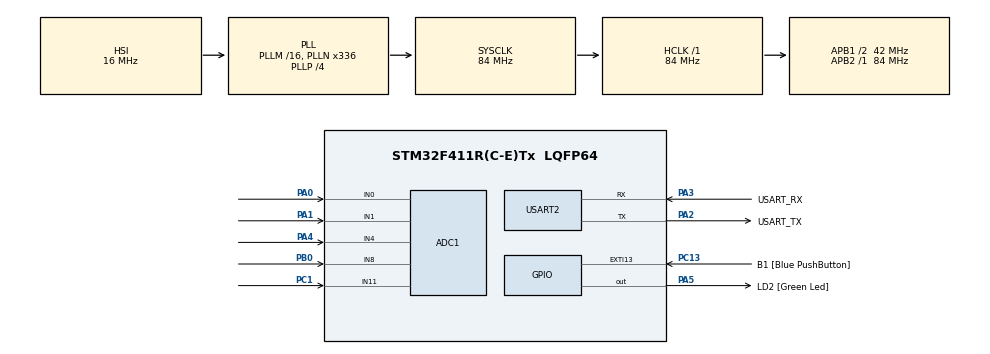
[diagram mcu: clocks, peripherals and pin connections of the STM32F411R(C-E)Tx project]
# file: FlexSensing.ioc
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ADC1.Channel-1\#ChannelRegularConversion=ADC_CHANNEL_0
ADC1.Channel-2\#ChannelRegularConversion=ADC_CHANNEL_1
ADC1.Channel-6\#ChannelRegularConversion=ADC_CHANNEL_4
ADC1.Channel-7\#ChannelRegularConversion=ADC_CHANNEL_8
ADC1.Channel-8\#ChannelRegularConversion=ADC_CHANNEL_11
ADC1.ClockPrescaler=ADC_CLOCK_SYNC_PCLK_DIV8
ADC1.ContinuousConvMode=ENABLE
ADC1.DMAContinuousRequests=ENABLE
ADC1.NbrOfConversion=5
ADC1.NbrOfConversionFlag=1
ADC1.Rank-1\#ChannelRegularConversion=1
ADC1.Rank-2\#ChannelRegularConversion=2
ADC1.Rank-6\#ChannelRegularConversion=3
ADC1.Rank-7\#ChannelRegularConversion=4
ADC1.Rank-8\#ChannelRegularConversion=5
ADC1.SamplingTime-1\#ChannelRegularConversion=ADC_SAMPLETIME_144CYCLES
ADC1.SamplingTime-2\#ChannelRegularConversion=ADC_SAMPLETIME_144CYCLES
ADC1.SamplingTime-6\#ChannelRegularConversion=ADC_SAMPLETIME_144CYCLES
ADC1.SamplingTime-7\#ChannelRegularConversion=ADC_SAMPLETIME_144CYCLES
ADC1.SamplingTime-8\#ChannelRegularConversion=ADC_SAMPLETIME_144CYCLES
ADC1.master=1
Dma.ADC1.0.Direction=DMA_PERIPH_TO_MEMORY
Dma.ADC1.0.FIFOMode=DMA_FIFOMODE_DISABLE
Dma.ADC1.0.Instance=DMA2_Stream0
Dma.ADC1.0.MemDataAlignment=DMA_MDATAALIGN_WORD
Dma.ADC1.0.MemInc=DMA_MINC_ENABLE
Dma.ADC1.0.Mode=DMA_CIRCULAR
Dma.ADC1.0.PeriphDataAlignment=DMA_PDATAALIGN_WORD
Dma.ADC1.0.PeriphInc=DMA_PINC_DISABLE
Dma.ADC1.0.Priority=DMA_PRIORITY_LOW
Dma.Request0=ADC1
Mcu.Family=STM32F4
Mcu.Name=STM32F411R(C-E)Tx
Mcu.Package=LQFP64
NVIC.DMA2_Stream0_IRQn=true\:0\:0\:false\:false\:true\:false\:true\:true
NVIC.PriorityGroup=NVIC_PRIORITYGROUP_0
PA0-WKUP.Signal=ADCx_IN0
PA1.Signal=ADCx_IN1
PA13.GPIO_Label=TMS
PA13.Mode=Serial_Wire
PA13.Signal=SYS_JTMS-SWDIO
PA14.GPIO_Label=TCK
PA14.Mode=Serial_Wire
PA14.Signal=SYS_JTCK-SWCLK
PA2.GPIO_Label=USART_TX
PA2.Mode=Asynchronous
PA2.Signal=USART2_TX
PA3.GPIO_Label=USART_RX
PA3.Mode=Asynchronous
PA3.Signal=USART2_RX
PA4.Signal=ADCx_IN4
PA5.GPIO_Label=LD2 [Green Led]
PA5.Signal=GPIO_Output
PB0.Signal=ADCx_IN8
PB3.GPIO_Label=SWO
PB3.Signal=SYS_JTDO-SWO
PC1.Signal=ADCx_IN11
PC13-ANTI_TAMP.GPIO_Label=B1 [Blue PushButton]
PC13-ANTI_TAMP.GPIO_ModeDefaultEXTI=GPIO_MODE_IT_FALLING
PC13-ANTI_TAMP.Signal=GPXTI13
PC14-OSC32_IN.Mode=LSE-External-Oscillator
PC14-OSC32_IN.Signal=RCC_OSC32_IN
PC15-OSC32_OUT.Mode=LSE-External-Oscillator
PC15-OSC32_OUT.Signal=RCC_OSC32_OUT
PH0\ -\ OSC_IN.Mode=HSE-External-Clock-Source
PH0\ -\ OSC_IN.Signal=RCC_OSC_IN
PH1\ -\ OSC_OUT.Mode=HSE-External-Clock-Source
PH1\ -\ OSC_OUT.Signal=RCC_OSC_OUT
ProjectManager.HeapSize=0x200
ProjectManager.StackSize=0x400
ProjectManager.TargetToolchain=STM32CubeIDE
RCC.48MHZClocksFreq_Value=84000000
RCC.AHBFreq_Value=84000000
RCC.APB1CLKDivider=RCC_HCLK_DIV2
RCC.APB1Freq_Value=42000000
RCC.APB1TimFreq_Value=84000000
RCC.APB2Freq_Value=84000000
RCC.APB2TimFreq_Value=84000000
RCC.CortexFreq_Value=84000000
RCC.FLatency-AdvancedSettings=FLASH_LATENCY_2
RCC.HCLKFreq_Value=84000000
RCC.HSE_VALUE=8000000
RCC.HSI_VALUE=16000000
RCC.PLLN=336
RCC.PLLP=RCC_PLLP_DIV4
RCC.SYSCLKFreq_VALUE=84000000
RCC.SYSCLKSource=RCC_SYSCLKSOURCE_PLLCLK
RCC.VCOOutputFreq_Value=336000000
SH.ADCx_IN0.0=ADC1_IN0,IN0
SH.ADCx_IN1.0=ADC1_IN1,IN1
SH.ADCx_IN11.0=ADC1_IN11,IN11
SH.ADCx_IN4.0=ADC1_IN4,IN4
SH.ADCx_IN8.0=ADC1_IN8,IN8
USART2.VirtualMode=VM_ASYNC
board=NUCLEO-F411RE

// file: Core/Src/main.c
/* USER CODE BEGIN Header */
/**
  ******************************************************************************
  * @file           : main.c
  * @brief          : Main program body
  ******************************************************************************
  * @attention
  *
  * Copyright (c) 2024 STMicroelectronics.
  * All rights reserved.
  *
  * This software is licensed under terms that can be found in the LICENSE file
  * in the root directory of this software component.
  * If no LICENSE file comes with this software, it is provided AS-IS.
  *
  ******************************************************************************
  */
/* USER CODE END Header */
#include "main.h"

/* USER CODE BEGIN Includes */
// Used for outputting text to PuTTy
#include <string.h>
#include <stdio.h>
/* USER CODE END Includes */

/* USER CODE BEGIN PD */
#define ADC_MAX 4095 //Maximum ADC reading
#define NUM_ADC_CHANNELS 5 //How many threads the ADC will be reading from
/* USER CODE END PD */

ADC_HandleTypeDef hadc1;
DMA_HandleTypeDef hdma_adc1;

UART_HandleTypeDef huart2;

/* USER CODE BEGIN PV */
uint32_t ADCReading[NUM_ADC_CHANNELS] = {0}; //Hold the ADC readings from each of the channels
int ADCChannel = 0;
/* USER CODE END PV */

void SystemClock_Config(void);
static void MX_GPIO_Init(void);
static void MX_DMA_Init(void);
static void MX_USART2_UART_Init(void);
static void MX_ADC1_Init(void);

int main(void)
{

  /* MCU Configuration--------------------------------------------------------*/

  /* Reset of all peripherals, Initializes the Flash interface and the Systick. */
  HAL_Init();

  /* Configure the system clock */
  SystemClock_Config();

  /* Initialize all configured peripherals */
  MX_GPIO_Init();
  MX_DMA_Init();
  MX_USART2_UART_Init();
  MX_ADC1_Init();
  /* USER CODE BEGIN 2 */
  HAL_ADC_Start_DMA(&hadc1, ADCReading, NUM_ADC_CHANNELS);
  /* USER CODE END 2 */

  /* Infinite loop */
  /* USER CODE BEGIN WHILE */
  while (1)
  {
	  //This comment is for testing the Github upload
	  //Since ADC readings are 12 bits, we bitwise and (&) with oxFFF to zero out the extra
	  printf("First ADC reading = %d\r\n", (int)(0xFFFF & ADCReading[0]));
	  printf("Second = %d\r\n", (int)(0xFFFF & ADCReading[1]));
	  printf("Third = %d\r\n", (int)(0xFFFF & ADCReading[2]));
	  printf("Fourth = %d\r\n", (int)(0xFFFF & ADCReading[3]));
	  printf("Fifth = %d\r\n", (int)(0xFFFF & ADCReading[4]));
	  HAL_GPIO_TogglePin(GPIOA,GPIO_PIN_5); //Toggle the built in LED on the board to confirm it's running
	  HAL_Delay(100);
    /* USER CODE END WHILE */

  }
}

void SystemClock_Config(void)
{
  RCC_OscInitTypeDef RCC_OscInitStruct = {0};
  RCC_ClkInitTypeDef RCC_ClkInitStruct = {0};

  /** Configure the main internal regulator output voltage
  */
  __HAL_RCC_PWR_CLK_ENABLE();
  __HAL_PWR_VOLTAGESCALING_CONFIG(PWR_REGULATOR_VOLTAGE_SCALE1);

  /** Initializes the RCC Oscillators according to the specified parameters
  * in the RCC_OscInitTypeDef structure.
  */
  RCC_OscInitStruct.OscillatorType = RCC_OSCILLATORTYPE_HSI;
  RCC_OscInitStruct.HSIState = RCC_HSI_ON;
  RCC_OscInitStruct.HSICalibrationValue = RCC_HSICALIBRATION_DEFAULT;
  RCC_OscInitStruct.PLL.PLLState = RCC_PLL_ON;
  RCC_OscInitStruct.PLL.PLLSource = RCC_PLLSOURCE_HSI;
  RCC_OscInitStruct.PLL.PLLM = 16;
  RCC_OscInitStruct.PLL.PLLN = 336;
  RCC_OscInitStruct.PLL.PLLP = RCC_PLLP_DIV4;
  RCC_OscInitStruct.PLL.PLLQ = 4;
  if (HAL_RCC_OscConfig(&RCC_OscInitStruct) != HAL_OK)
  {
    Error_Handler();
  }

  /** Initializes the CPU, AHB and APB buses clocks
  */
  RCC_ClkInitStruct.ClockType = RCC_CLOCKTYPE_HCLK|RCC_CLOCKTYPE_SYSCLK
                              |RCC_CLOCKTYPE_PCLK1|RCC_CLOCKTYPE_PCLK2;
  RCC_ClkInitStruct.SYSCLKSource = RCC_SYSCLKSOURCE_PLLCLK;
  RCC_ClkInitStruct.AHBCLKDivider = RCC_SYSCLK_DIV1;
  RCC_ClkInitStruct.APB1CLKDivider = RCC_HCLK_DIV2;
  RCC_ClkInitStruct.APB2CLKDivider = RCC_HCLK_DIV1;

  if (HAL_RCC_ClockConfig(&RCC_ClkInitStruct, FLASH_LATENCY_2) != HAL_OK)
  {
    Error_Handler();
  }
}

static void MX_ADC1_Init(void)
{

  ADC_ChannelConfTypeDef sConfig = {0};

  /** Configure the global features of the ADC (Clock, Resolution, Data Alignment and number of conversion)
  */
  hadc1.Instance = ADC1;
  hadc1.Init.ClockPrescaler = ADC_CLOCK_SYNC_PCLK_DIV8;
  hadc1.Init.Resolution = ADC_RESOLUTION_12B;
  hadc1.Init.ScanConvMode = ENABLE;
  hadc1.Init.ContinuousConvMode = ENABLE;
  hadc1.Init.DiscontinuousConvMode = DISABLE;
  hadc1.Init.ExternalTrigConvEdge = ADC_EXTERNALTRIGCONVEDGE_NONE;
  hadc1.Init.ExternalTrigConv = ADC_SOFTWARE_START;
  hadc1.Init.DataAlign = ADC_DATAALIGN_RIGHT;
  hadc1.Init.NbrOfConversion = 5;
  hadc1.Init.DMAContinuousRequests = ENABLE;
  hadc1.Init.EOCSelection = ADC_EOC_SINGLE_CONV;
  if (HAL_ADC_Init(&hadc1) != HAL_OK)
  {
    Error_Handler();
  }

  /** Configure for the selected ADC regular channel its corresponding rank in the sequencer and its sample time.
  */
  sConfig.Channel = ADC_CHANNEL_0;
  sConfig.Rank = 1;
  sConfig.SamplingTime = ADC_SAMPLETIME_144CYCLES;
  if (HAL_ADC_ConfigChannel(&hadc1, &sConfig) != HAL_OK)
  {
    Error_Handler();
  }

  /** Configure for the selected ADC regular channel its corresponding rank in the sequencer and its sample time.
  */
  sConfig.Channel = ADC_CHANNEL_1;
  sConfig.Rank = 2;
  if (HAL_ADC_ConfigChannel(&hadc1, &sConfig) != HAL_OK)
  {
    Error_Handler();
  }

  /** Configure for the selected ADC regular channel its corresponding rank in the sequencer and its sample time.
  */
  sConfig.Channel = ADC_CHANNEL_4;
  sConfig.Rank = 3;
  if (HAL_ADC_ConfigChannel(&hadc1, &sConfig) != HAL_OK)
  {
    Error_Handler();
  }

  /** Configure for the selected ADC regular channel its corresponding rank in the sequencer and its sample time.
  */
  sConfig.Channel = ADC_CHANNEL_8;
  sConfig.Rank = 4;
  if (HAL_ADC_ConfigChannel(&hadc1, &sConfig) != HAL_OK)
  {
    Error_Handler();
  }

  /** Configure for the selected ADC regular channel its corresponding rank in the sequencer and its sample time.
  */
  sConfig.Channel = ADC_CHANNEL_11;
  sConfig.Rank = 5;
  if (HAL_ADC_ConfigChannel(&hadc1, &sConfig) != HAL_OK)
  {
    Error_Handler();
  }

}

static void MX_USART2_UART_Init(void)
{

  huart2.Instance = USART2;
  huart2.Init.BaudRate = 115200;
  huart2.Init.WordLength = UART_WORDLENGTH_8B;
  huart2.Init.StopBits = UART_STOPBITS_1;
  huart2.Init.Parity = UART_PARITY_NONE;
  huart2.Init.Mode = UART_MODE_TX_RX;
  huart2.Init.HwFlowCtl = UART_HWCONTROL_NONE;
  huart2.Init.OverSampling = UART_OVERSAMPLING_16;
  if (HAL_UART_Init(&huart2) != HAL_OK)
  {
    Error_Handler();
  }

}

static void MX_DMA_Init(void)
{

  /* DMA controller clock enable */
  __HAL_RCC_DMA2_CLK_ENABLE();

  /* DMA interrupt init */
  /* DMA2_Stream0_IRQn interrupt configuration */
  HAL_NVIC_SetPriority(DMA2_Stream0_IRQn, 0, 0);
  HAL_NVIC_EnableIRQ(DMA2_Stream0_IRQn);

}

static void MX_GPIO_Init(void)
{
  GPIO_InitTypeDef GPIO_InitStruct = {0};

  /* GPIO Ports Clock Enable */
  __HAL_RCC_GPIOC_CLK_ENABLE();
  __HAL_RCC_GPIOH_CLK_ENABLE();
  __HAL_RCC_GPIOA_CLK_ENABLE();
  __HAL_RCC_GPIOB_CLK_ENABLE();

  /*Configure GPIO pin Output Level */
  HAL_GPIO_WritePin(LD2_GPIO_Port, LD2_Pin, GPIO_PIN_RESET);

  /*Configure GPIO pin : B1_Pin */
  GPIO_InitStruct.Pin = B1_Pin;
  GPIO_InitStruct.Mode = GPIO_MODE_IT_FALLING;
  GPIO_InitStruct.Pull = GPIO_NOPULL;
  HAL_GPIO_Init(B1_GPIO_Port, &GPIO_InitStruct);

  /*Configure GPIO pin : LD2_Pin */
  GPIO_InitStruct.Pin = LD2_Pin;
  GPIO_InitStruct.Mode = GPIO_MODE_OUTPUT_PP;
  GPIO_InitStruct.Pull = GPIO_NOPULL;
  GPIO_InitStruct.Speed = GPIO_SPEED_FREQ_LOW;
  HAL_GPIO_Init(LD2_GPIO_Port, &GPIO_InitStruct);

}

/* USER CODE BEGIN 4 */

// Used to output text to PuTTY
int _write(int file, char *ptr, int len) {
	HAL_UART_Transmit(&huart2,(uint8_t*)ptr, len, HAL_MAX_DELAY);
	return len;
}

/* ADC Conversion callback function
 * Conversions are called in order and they each call this function at the end
 * Place current conversion in respective position in array
 * If this is the fifth conversion in a row, know to reset so that next conversion goes to first index
 */
void HAL_ADC_ConvCpltCallback(ADC_HandleTypeDef* hadc)
{
	ADCReading[ADCChannel] = HAL_ADC_GetValue(&hadc1);
	ADCChannel++;
	if (ADCChannel == NUM_ADC_CHANNELS) ADCChannel = 0;
}

/* USER CODE END 4 */

void Error_Handler(void)
{
  __disable_irq();
  while (1)
  {
  }
}
